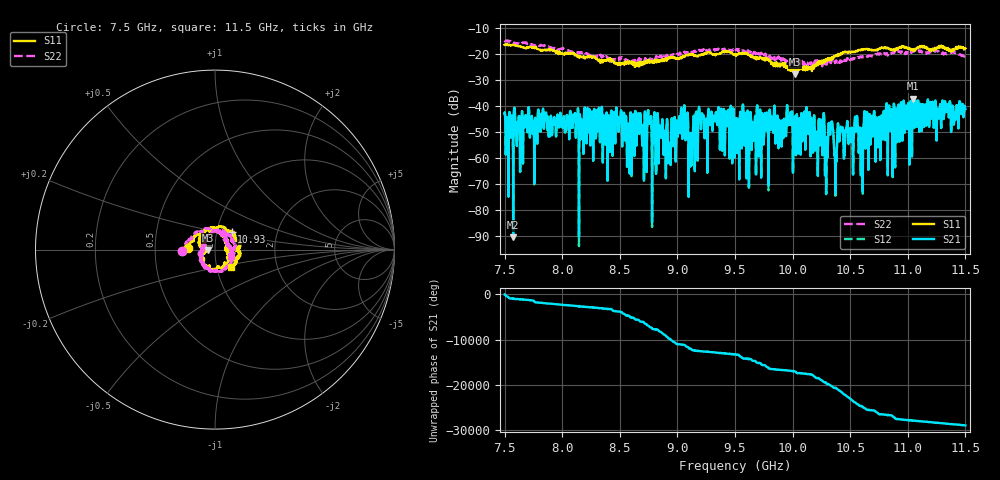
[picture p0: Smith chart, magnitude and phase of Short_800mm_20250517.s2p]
#  HZ  S  DB  R  50.00
! Rohde & Schwarz ZVA40 2Ports - Version 4.11 - 1145.1110k40 SN: 100216
! Date: 2025-05-17 20:27:22
! Measurements: S11 S21 S12 S22
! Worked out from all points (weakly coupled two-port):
!   5001 points, 7.5 GHz to 11.5 GHz, reference 50 ohm
!   highest |S21| = -37.14 dB at 11.05 GHz (marker M1); lowest = -90.4 dB at 7.574 GHz (marker M2)
!   lowest |S11| = -27.7 dB at 10.02 GHz (marker M3), VSWR 1.09, Z = 46.1 - j0.224 ohm
!   |S11| at or under -10 dB: start of sweep to end of sweep
!   |S22| runs from -25.1 to -14.8 dB; largest |S21 - S12| = 0.00012
!   S11 on the Smith chart (normalised r, x): 7.5 GHz: 0.74, +0.02; 10.93 GHz: 1.18, +0.24; 11.5 GHz: 1.16, -0.23
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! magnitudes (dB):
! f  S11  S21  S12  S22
! 7.5 GHz  -16.4  -42.9  -42.9  -14.8
! 7.574 GHz  -16.5  -90.4  -84.7  -15.6
! 8.167 GHz  -21.2  -45.2  -45.2  -19.3
! 8.834 GHz  -22.9  -48.9  -49.0  -20.7
! 8.934 GHz  -21.6  -54.8  -54.6  -21.1
! 9.071 GHz  -20.6  -52.0  -52.0  -19.4
! 9.114 GHz  -20.1  -50.8  -50.8  -19.1
! 9.201 GHz  -20.4  -45.2  -45.1  -18.6
! 9.5 GHz  -20.3  -50.6  -50.5  -18.0
! 10.02 GHz  -27.7  -45.5  -45.5  -22.8
! 10.17 GHz  -26.5  -46.1  -46.1  -23.9
! 10.3 GHz  -22.7  -52.4  -52.4  -23.9
! 10.33 GHz  -22.1  -47.9  -47.8  -23.5
! 10.37 GHz  -20.9  -62.6  -62.6  -23.5
! 10.41 GHz  -20.4  -52.0  -52.0  -23.3
! 10.55 GHz  -18.8  -49.2  -49.1  -21.6
! 10.59 GHz  -18.5  -66.5  -66.5  -21.0
! 10.63 GHz  -18.1  -56.0  -56.0  -21.2
! 10.83 GHz  -18.0  -41.0  -41.0  -19.8
! 10.93 GHz  -17.3  -43.5  -43.4  -19.2
! 11.05 GHz  -18.2  -37.1  -37.1  -18.9
! 11.5 GHz  -17.8  -41.1  -41.1  -20.5
